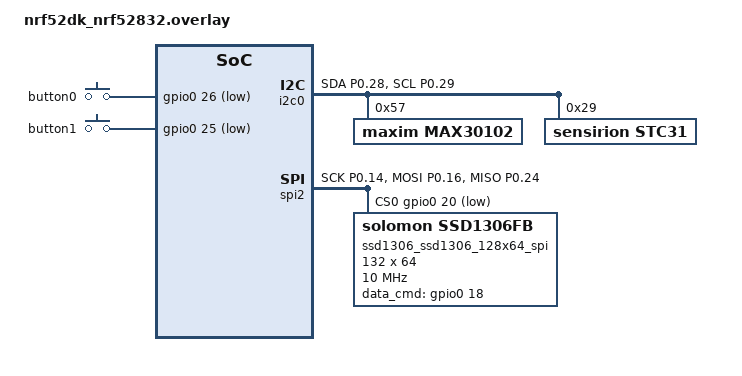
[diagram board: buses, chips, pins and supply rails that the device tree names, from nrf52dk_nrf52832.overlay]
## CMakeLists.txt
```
# SPDX-License-Identifier: Apache-2.0

list(APPEND ZEPHYR_EXTRA_MODULES
  ${CMAKE_CURRENT_SOURCE_DIR}/max30102
  ${CMAKE_CURRENT_SOURCE_DIR}/stc31
  )

set(EXTRA_MODULES_PATHS ${ZEPHYR_EXTRA_MODULES})
list(TRANSFORM EXTRA_MODULES_PATHS APPEND "/zephyr")
list(APPEND DTS_ROOT ${EXTRA_MODULES_PATHS})

cmake_minimum_required(VERSION 3.20.0)

find_package(Zephyr REQUIRED HINTS $ENV{ZEPHYR_BASE})
project(spo2_co2_fw)

target_sources(app PRIVATE
               src/main.c
               src/display.c
               src/button.c
               src/spo2.c
               src/co2.c)
```

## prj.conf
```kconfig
CONFIG_I2C=y
CONFIG_SENSOR=y

CONFIG_MAX30102=y
CONFIG_MAX30102_SPO2_MODE=y
CONFIG_MAX30102_LED1_PA=0x7F
CONFIG_MAX30102_LED2_PA=0x7F
CONFIG_MAX30102_SR=1

CONFIG_STC31=y

CONFIG_SPI=y
CONFIG_DISPLAY=y
CONFIG_LVGL=y
CONFIG_LV_Z_MEM_POOL_NUMBER_BLOCKS=8
CONFIG_MAIN_STACK_SIZE=2048
CONFIG_LV_MEM_CUSTOM=y
CONFIG_LV_USE_LOG=y
CONFIG_LV_USE_LABEL=y
CONFIG_LV_USE_BTN=y
CONFIG_LV_USE_IMG=y
CONFIG_LV_FONT_MONTSERRAT_14=y
CONFIG_SSD1306_SH1106_COMPATIBLE=y
CONFIG_SYSTEM_WORKQUEUE_STACK_SIZE=2048

CONFIG_CBPRINTF_FP_SUPPORT=y
CONFIG_LOG=y
CONFIG_LOG_DEFAULT_LEVEL=4
CONFIG_LOG_BUFFER_SIZE=4096
CONFIG_LOG_BACKEND_SHOW_COLOR=n
CONFIG_SENSOR_LOG_LEVEL_DBG=y
CONFIG_I2C_LOG_LEVEL_DBG=y
CONFIG_LOG_MAX_LEVEL=4
CONFIG_DEBUG=y
CONFIG_DISPLAY_LOG_LEVEL_ERR=y
CONFIG_RTT_CONSOLE=y
CONFIG_USE_SEGGER_RTT=y
CONFIG_LOG_BACKEND_RTT=y

CONFIG_SSD1306_REVERSE_MODE=y

CONFIG_GPIO=y

CONFIG_CLOCK_CONTROL_NRF_K32SRC_RC=y
CONFIG_CLOCK_CONTROL_NRF_K32SRC_XTAL=n

CONFIG_BOARD_ENABLE_DCDC=n
```

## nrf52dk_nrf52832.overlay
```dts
/* SPDX-License-Identifier: Apache-2.0 */

/ {
    chosen {
        zephyr,display = &ssd1306_ssd1306_128x64_spi;
    };
};

/ {
     aliases {
        spo2button = &button0;
        co2button = &button1;
     };

     buttons {
        compatible = "gpio-keys";
        button0: button_0 {
            gpios = < &gpio0 26 (GPIO_PULL_UP | GPIO_ACTIVE_LOW)>;
        };
        button1: button_1 {
            gpios = < &gpio0 25 (GPIO_PULL_UP | GPIO_ACTIVE_LOW)>;
        };
     };
};

&pinctrl {
    i2c0_pins: i2c0_pins {
        group1 {
            psels = <NRF_PSEL(TWIM_SDA, 0, 28)>,
                    <NRF_PSEL(TWIM_SCL, 0, 29)>;
        };
    };
    spi2_default_alt: spi2_default_alt {
        group1 {
            psels = <NRF_PSEL(SPIM_SCK, 0, 14)>,
            <NRF_PSEL(SPIM_MOSI, 0, 16)>,
            <NRF_PSEL(SPIM_MISO, 0, 24)>;
        };
    };
    spi2_sleep_alt: spi2_sleep_alt {
        group1 {
            psels = <NRF_PSEL(SPIM_SCK, 0, 14)>,
                <NRF_PSEL(SPIM_MOSI, 0, 16)>,
                <NRF_PSEL(SPIM_MISO, 0, 24)>;
            low-power-enable;
        };
    };
};

&i2c0 {
    max30102@57 {
        compatible = "maxim,max30102";
        reg = <0x57>;
    };
    stc31@29 {
        compatible = "sensirion,stc31";
        reg = <0x29>;
    };
    pinctrl-0 = <&i2c0_pins>;
};

&spi2 {
    compatible = "nordic,nrf-spi";
    status = "okay";
    pinctrl-0 = <&spi2_default_alt>;
    pinctrl-1 = <&spi2_sleep_alt>;
    pinctrl-names = "default", "sleep";
    cs-gpios = <&gpio0 20 GPIO_ACTIVE_LOW>;
    ssd1306_ssd1306_128x64_spi: ssd1306@0 {
        compatible = "solomon,ssd1306fb";
        reg = <0x0>;
        spi-max-frequency = <10000000>;
        data_cmd-gpios = <&gpio0 18 GPIO_ACTIVE_HIGH>;
        segment-offset = <0>;
        page-offset = <0>;
        display-offset = <2>;
        multiplex-ratio = <63>;
        prechargep = <0x22>;
        height = <64>;
        width = <132>;
        /delete-property/ segment-remap;
        /delete-property/ com-invdir;
    };
};
```

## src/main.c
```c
#include <zephyr/kernel.h>

#include <zephyr/logging/log.h>
LOG_MODULE_REGISTER(main, CONFIG_LOG_DEFAULT_LEVEL);

#include "display.h"
#include "button.h"
#include "spo2.h"
#include "co2.h"

void main(void)
{
    LOG_INF("App start");

    button_cb_t buttons_cb[BUTTON_TOP] = {spo2_button_pressed, co2_button_pressed};
    display_init();
    button_init(buttons_cb);
    spo2_init();
    co2_init();

    while(1)
    {
        k_sleep(K_SECONDS(1));
    }
}
```

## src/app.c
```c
#include <zephyr/kernel.h>
#include <zephyr/device.h>
#include <zephyr/devicetree.h>
#include <zephyr/drivers/sensor.h>

#include <zephyr/logging/log.h>
LOG_MODULE_REGISTER(app, CONFIG_LOG_DEFAULT_LEVEL);

#include "math.h"
#include "display.h"
#include "button.h"

#define SPO2_MEASUREMENT_PERIOD_S    5
#define SPO2_MEASUREMENT_TIME_S      (SPO2_MEASUREMENT_PERIOD_S + 1)
#define SPO2_SAMPLING_TIME_MS        10
#define SPO2_BUFFER_SIZE             (SPO2_MEASUREMENT_PERIOD_S * 1000) / SPO2_SAMPLING_TIME_MS
#define SPO2_SAMPLES_TO_IGNORE       100
#define CO2_MEASUREMENT_PERIOD_S     1

struct spo2_ctx
{
    uint16_t index;
    uint16_t samples_to_ignore_cnt;
    uint32_t red_buf[SPO2_BUFFER_SIZE];
    uint32_t ir_buf[SPO2_BUFFER_SIZE];
    uint8_t current_val;
    bool measurement_in_progress;
    struct k_timer measurement_timer;
    struct k_timer sampling_timer;
    struct k_work button_pressed;
    struct k_work sampling_work;
};

static struct spo2_ctx spo2;

enum co2_measurement_state
{
    CO2_MEAS_NONE,
    CO2_MEAS_REQUESTED,
    CO2_MEAS_STARTED,

    CO2_MEAS_TOP,
};

struct co2_ctx
{
    enum co2_measurement_state state;
    struct k_timer measurement_timer;
    struct k_work measurement_work;
    struct k_work button_pressed;
};

static struct co2_ctx co2;

/*
 * Get a device structure from a devicetree node with compatible "maxim,max30102".
 */
static const struct device *get_max30102_device(void)
{
    const struct device *dev = DEVICE_DT_GET_ANY(maxim_max30102);

    if (dev == NULL)
    {
        /* No such node, or the node does not have status "okay". */
        LOG_ERR("\nError: no device found.\n");
        return NULL;
    }

    if (!device_is_ready(dev))
    {
        LOG_ERR("\nError: Device \"%s\" is not ready; "
               "check the driver initialization logs for errors.\n",
               dev->name);
        return NULL;
    }

    return dev;
}

static uint8_t spo2_calculate(void)
{
    uint64_t red_sum = 0;
    uint64_t ir_sum = 0;
    uint64_t red_squared_sum = 0;
    uint64_t ir_squared_sum = 0;
    uint32_t red_mean = 0;
    uint32_t ir_mean = 0;

    for (uint16_t i = 0; i < SPO2_BUFFER_SIZE; i++)
    {
        red_sum += spo2.red_buf[i];
        ir_sum += spo2.ir_buf[i];
    }

    red_mean = red_sum / SPO2_BUFFER_SIZE;
    ir_mean = ir_sum / SPO2_BUFFER_SIZE;

    for (uint16_t i = 0; i < SPO2_BUFFER_SIZE; i++)
    {
        red_squared_sum += (spo2.red_buf[i] - red_mean) * (spo2.red_buf[i] - red_mean);
        ir_squared_sum += (spo2.ir_buf[i] - ir_mean) * (spo2.ir_buf[i] - ir_mean);
    }

    double AC_red = sqrt((double)red_squared_sum / (double)SPO2_MEASUREMENT_PERIOD_S);
    double DC_red = (double)red_mean;
    double AC_ir = sqrt((double)ir_squared_sum / (double)SPO2_MEASUREMENT_PERIOD_S);
    double DC_ir = (double)ir_mean;

    return 101.72 - 6.4619 * ((AC_red / DC_red) / (AC_ir / DC_ir));
}

static void spo2_sample_add_workqueue(struct k_work *item)
{
    const struct device *dev = get_max30102_device();

    if (dev == NULL)
    {
        return;
    }

    struct sensor_value data[2];

    if (sensor_sample_fetch(dev) < 0)
    {
        LOG_ERR("Error when fetching the data\n");
    }

    if (sensor_channel_get(dev, SENSOR_CHAN_RED, &data[0]) < 0)
    {
        LOG_ERR("Channel RED get error\n");
        return;
    }

    if (sensor_channel_get(dev, SENSOR_CHAN_IR, &data[1]) < 0)
    {
        LOG_ERR("Channel IR get error\n");
        return;
    }

    if (spo2.samples_to_ignore_cnt < SPO2_SAMPLES_TO_IGNORE)
    {
        spo2.samples_to_ignore_cnt++;
        return;
    }

    spo2.red_buf[spo2.index] = data[0].val1;
    spo2.ir_buf[spo2.index] = data[1].val1;
    spo2.index++;
}

static void spo2_val_init(void)
{
    memset(spo2.red_buf, 0, SPO2_BUFFER_SIZE);
    memset(spo2.ir_buf, 0, SPO2_BUFFER_SIZE);
    spo2.index = 0;
    spo2.measurement_in_progress = false;
    spo2.samples_to_ignore_cnt = 0;
}

static void spo2_button_pressed_workqueue(struct k_work *item)
{
    k_timer_stop(&spo2.sampling_timer);
    spo2.current_val = spo2_calculate();
    spo2_val_init();
    display_print(SENSOR_SPO2, spo2.current_val);
}

static void spo2_sampling_timer_expiry(struct k_timer *timer_id)
{
    k_work_submit(&spo2.sampling_work);
}

static void spo2_measurement_timer_expiry(struct k_timer *timer_id)
{
    k_work_submit(&spo2.button_pressed);
}

static void spo2_button_pressed(void)
{
    if (spo2.measurement_in_progress)
    {
        return;
    }

    spo2.measurement_in_progress = true;
    k_timer_start(&spo2.sampling_timer, K_NO_WAIT, K_MSEC(SPO2_SAMPLING_TIME_MS));
    k_timer_start(&spo2.measurement_timer, K_SECONDS(SPO2_MEASUREMENT_TIME_S), K_FOREVER);
}

/*
 * Get a device structure from a devicetree node with compatible "sensirion,stc31".
 */
static const struct device *get_stc31_device(void)
{
    const struct device *dev = DEVICE_DT_GET_ANY(sensirion_stc31);

    if (dev == NULL)
    {
        /* No such node, or the node does not have status "okay". */
        LOG_ERR("\nError: no device found.\n");
        return NULL;
    }

    if (!device_is_ready(dev))
    {
        LOG_ERR("\nError: Device \"%s\" is not ready; "
                "check the driver initialization logs for errors.\n",
               dev->name);
        return NULL;
    }

    return dev;
}

static float co2_calculate(uint16_t raw_val)
{
    float co2 = (((float)raw_val - 16384.0) * 100) / 32768.0;
    return (co2 > 0.0) ? co2 : 0.0;
}

static void co2_measurement_timer_expiry(struct k_timer *timer_id)
{
    k_work_submit(&co2.measurement_work);
}

static void co2_measurement_complete_workqueue(struct k_work *item)
{
    const struct device *dev = get_stc31_device();

    if (dev == NULL)
    {
        return;
    }

    struct sensor_value data;

    if (sensor_sample_fetch(dev) < 0)
    {
        LOG_ERR("Error when fetching the data\n");
    }

    if (sensor_channel_get(dev, SENSOR_CHAN_CO2, &data) < 0)
    {
        LOG_ERR("Channel get error\n");
        return;
    }

    switch (co2.state)
    {
        case CO2_MEAS_REQUESTED:
            co2.state = CO2_MEAS_STARTED;
            break;
        case CO2_MEAS_STARTED:
            display_print(SENSOR_CO2, co2_calculate(data.val1));
            co2.state = CO2_MEAS_NONE;
            break;
        case CO2_MEAS_NONE:
        default:
            break;
    }
}

static void co2_button_pressed(void)
{
    if (co2.state != CO2_MEAS_NONE)
    {
        return;
    }

    co2.state = CO2_MEAS_REQUESTED;
}

void app_init(void)
{
    button_cb_t buttons_cb[BUTTON_TOP] = {spo2_button_pressed, co2_button_pressed};
    display_init();
    button_init(buttons_cb);

    k_timer_init(&spo2.sampling_timer, spo2_sampling_timer_expiry, NULL);
    k_timer_init(&spo2.measurement_timer, spo2_measurement_timer_expiry, NULL);
    k_work_init(&spo2.sampling_work, spo2_sample_add_workqueue);
    k_work_init(&spo2.button_pressed, spo2_button_pressed_workqueue);

    k_timer_init(&co2.measurement_timer, co2_measurement_timer_expiry, NULL);
    k_work_init(&co2.measurement_work, co2_measurement_complete_workqueue);
    k_timer_start(&co2.measurement_timer, K_SECONDS(CO2_MEASUREMENT_PERIOD_S), K_SECONDS(CO2_MEASUREMENT_PERIOD_S));
}
```

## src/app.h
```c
#ifndef APP_H
#define APP_H

void app_init(void);

#endif /* APP_H */
```

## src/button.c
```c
#include <zephyr/kernel.h>
#include <zephyr/device.h>
#include <zephyr/sys/util.h>
#include <inttypes.h>

#include <zephyr/logging/log.h>
LOG_MODULE_REGISTER(button, CONFIG_LOG_DEFAULT_LEVEL);

#include "button.h"

/* Get buttons configuration from the devicetree aliases. */

#define SPO2_BUTTON_NODE    DT_ALIAS(spo2button)
#if !DT_NODE_HAS_STATUS(SPO2_BUTTON_NODE, okay)
#error "Unsupported board: spo2button devicetree alias is not defined"
#endif

#define CO2_BUTTON_NODE    DT_ALIAS(co2button)
#if !DT_NODE_HAS_STATUS(CO2_BUTTON_NODE, okay)
#error "Unsupported board: co2button devicetree alias is not defined"
#endif

#define DEBOUNCE_TIME_MS    100

const struct gpio_dt_spec buttons[BUTTON_TOP] = {GPIO_DT_SPEC_GET_OR(SPO2_BUTTON_NODE, gpios, {0}),
                                                 GPIO_DT_SPEC_GET_OR(CO2_BUTTON_NODE, gpios, {0})};

static struct gpio_callback callbacks[BUTTON_TOP];
static button_cb_t user_callbacks[BUTTON_TOP];
struct k_timer debouncing_timer[BUTTON_TOP];

static void button_timer_expiry(struct k_timer *timer_id)
{
    enum button_type type = BUTTON_TOP;

    if (&debouncing_timer[BUTTON_SPO2] == timer_id)
    {
        type = BUTTON_SPO2;
    }
    else if (&debouncing_timer[BUTTON_CO2] == timer_id)
    {
        type = BUTTON_CO2;
    }
    else
    {
        return;
    }

    int ret = gpio_pin_interrupt_configure_dt(&buttons[type], GPIO_INT_EDGE_TO_ACTIVE);
    if (ret != 0)
    {
        LOG_ERR("%d: failed to configure interrupt on %s pin %d\n", ret,
            buttons[type].port->name, buttons[type].pin);
        return;
    }
}

static void button_pressed(const struct device *dev, struct gpio_callback *cb, uint32_t pins)
{
    enum button_type type = BUTTON_TOP;

    if ((1 << buttons[BUTTON_SPO2].pin) & pins)
    {
        type = BUTTON_SPO2;
    }
    else if ((1 << buttons[BUTTON_CO2].pin) & pins)
    {
        type = BUTTON_CO2;
    }
    else
    {
        return;
    }

    int ret = gpio_pin_interrupt_configure_dt(&buttons[type], GPIO_INT_DISABLE);
    if (ret != 0)
    {
        LOG_ERR("%d: failed to disable interrupt on %s pin %d\n", ret,
            buttons[type].port->name, buttons[type].pin);
        return;
    }
    k_timer_start(&debouncing_timer[type], K_MSEC(DEBOUNCE_TIME_MS), K_FOREVER);
    user_callbacks[type]();
}

void button_init(button_cb_t *user_button_cb)
{
    int ret;

    for (uint8_t i = 0; i < BUTTON_TOP; i++)
    {
        if (!device_is_ready(buttons[i].port))
        {
            LOG_ERR("Button device %s is not ready\n", buttons[i].port->name);
            return;
        }

        ret = gpio_pin_configure_dt(&buttons[i], GPIO_INPUT);
        if (ret != 0)
        {
            LOG_ERR("%d: failed to configure %s pin %d\n", ret, buttons[i].port->name, buttons[i].pin);
            return;
        }

        ret = gpio_pin_interrupt_configure_dt(&buttons[i], GPIO_INT_EDGE_TO_ACTIVE);
        if (ret != 0)
        {
            LOG_ERR("%d: failed to configure interrupt on %s pin %d\n", ret, buttons[i].port->name, buttons[i].pin);
            return;
        }

        gpio_init_callback(&callbacks[i], button_pressed, BIT(buttons[i].pin));

        gpio_add_callback(buttons[i].port, &callbacks[i]);
        LOG_INF("Set up button at %s pin %d\n", buttons[i].port->name, buttons[i].pin);

        user_callbacks[i] = user_button_cb[i];

        k_timer_init(&debouncing_timer[i], button_timer_expiry, NULL);
    }
}
```

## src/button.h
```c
#ifndef BUTTON_H
#define BUTTON_H

#include <zephyr/drivers/gpio.h>

typedef void (*button_cb_t) (void);

enum button_type
{
    BUTTON_SPO2,
    BUTTON_CO2,

    BUTTON_TOP,
};

void button_init(button_cb_t *user_button_cb);

#endif /* BUTTON_H */
```

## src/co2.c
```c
#include <zephyr/kernel.h>
#include <zephyr/device.h>
#include <zephyr/devicetree.h>
#include <zephyr/drivers/sensor.h>

#include <zephyr/logging/log.h>
LOG_MODULE_REGISTER(co2, CONFIG_LOG_DEFAULT_LEVEL);

#include "display.h"
#include "co2.h"

#define CO2_MEASUREMENT_PERIOD_S     1

enum co2_measurement_state
{
    CO2_MEAS_NONE,
    CO2_MEAS_REQUESTED,
    CO2_MEAS_STARTED,

    CO2_MEAS_TOP,
};

struct co2_ctx
{
    enum co2_measurement_state state;
    struct k_timer measurement_timer;
    struct k_work measurement_work;
    struct k_work button_pressed;
};

static struct co2_ctx co2;

/*
 * Get a device structure from a devicetree node with compatible "sensirion,stc31".
 */
static const struct device *get_stc31_device(void)
{
    const struct device *dev = DEVICE_DT_GET_ANY(sensirion_stc31);

    if (dev == NULL)
    {
        /* No such node, or the node does not have status "okay". */
        LOG_ERR("\nError: no device found.\n");
        return NULL;
    }

    if (!device_is_ready(dev))
    {
        LOG_ERR("\nError: Device \"%s\" is not ready; "
                "check the driver initialization logs for errors.\n",
               dev->name);
        return NULL;
    }

    return dev;
}

static float co2_calculate(uint16_t raw_val)
{
    float co2 = (((float)raw_val - 16384.0) * 100) / 32768.0;
    LOG_INF("CO2 val: %f", co2);
    return (co2 > 0.0) ? co2 : 0.0;
}

static void co2_measurement_timer_expiry(struct k_timer *timer_id)
{
    k_work_submit(&co2.measurement_work);
}

static void co2_measurement_complete_workqueue(struct k_work *item)
{
    const struct device *dev = get_stc31_device();

    if (dev == NULL)
    {
        return;
    }

    struct sensor_value data;

    if (sensor_sample_fetch(dev) < 0)
    {
        LOG_ERR("Error when fetching the data\n");
    }

    if (sensor_channel_get(dev, SENSOR_CHAN_CO2, &data) < 0)
    {
        LOG_ERR("Channel get error\n");
        return;
    }

    switch (co2.state)
    {
        case CO2_MEAS_REQUESTED:
            co2.state = CO2_MEAS_STARTED;
            break;
        case CO2_MEAS_STARTED:
            display_print(SENSOR_CO2, co2_calculate(data.val1));
            co2.state = CO2_MEAS_NONE;
            break;
        case CO2_MEAS_NONE:
        default:
            break;
    }
}

void co2_button_pressed(void)
{
    if (co2.state != CO2_MEAS_NONE)
    {
        return;
    }

    co2.state = CO2_MEAS_REQUESTED;
}

void co2_init(void)
{
    k_timer_init(&co2.measurement_timer, co2_measurement_timer_expiry, NULL);
    k_work_init(&co2.measurement_work, co2_measurement_complete_workqueue);
    k_timer_start(&co2.measurement_timer, K_SECONDS(CO2_MEASUREMENT_PERIOD_S), K_SECONDS(CO2_MEASUREMENT_PERIOD_S));
}
```

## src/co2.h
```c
#ifndef CO2_H
#define CO2_H

void co2_button_pressed(void);
void co2_init(void);

#endif /* CO2_H */
```

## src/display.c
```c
#include <zephyr/device.h>
#include <zephyr/devicetree.h>
#include <zephyr/drivers/display.h>
#include <zephyr/drivers/gpio.h>
#include <lvgl.h>
#include <stdio.h>
#include <string.h>
#include <zephyr/kernel.h>

#include <zephyr/logging/log.h>
LOG_MODULE_REGISTER(display, CONFIG_LOG_DEFAULT_LEVEL);

#include "display.h"

#define SENSOR_VAL_OFFSET_X    70
#define SPO2_TEXT_OFFSET_X     16
#define CO2_TEXT_OFFSET_X      25
#define SPO2_OFFSET_Y          14
#define CO2_OFFSET_Y           40


struct display_ctx
{
    const struct device *device;
    lv_obj_t *spo2_label;
    lv_obj_t *co2_label;
};

static struct display_ctx display;

void display_init(void)
{
    lv_obj_t *spo2_label;
    lv_obj_t *co2_label;

    display.device = DEVICE_DT_GET(DT_CHOSEN(zephyr_display));
    if (!device_is_ready(display.device))
    {
        LOG_ERR("Device is not ready");
        return;
    }

    lv_obj_clean(lv_scr_act());

    spo2_label = lv_label_create(lv_scr_act());
    co2_label = lv_label_create(lv_scr_act());

    lv_label_set_text(spo2_label, "SpO2 :");
    lv_obj_align(spo2_label, LV_ALIGN_TOP_LEFT, SPO2_TEXT_OFFSET_X, SPO2_OFFSET_Y);

    lv_label_set_text(co2_label, "CO2 :");
    lv_obj_align(co2_label, LV_ALIGN_TOP_LEFT, CO2_TEXT_OFFSET_X, CO2_OFFSET_Y);

    lv_task_handler();
    display_blanking_off(display.device);

    display.spo2_label = lv_label_create(lv_scr_act());
    lv_label_set_text(display.spo2_label, "");
    lv_obj_align(display.spo2_label, LV_ALIGN_TOP_LEFT, SENSOR_VAL_OFFSET_X, SPO2_OFFSET_Y);

    display.co2_label = lv_label_create(lv_scr_act());
    lv_label_set_text(display.co2_label, "");
    lv_obj_align(display.co2_label, LV_ALIGN_TOP_LEFT, SENSOR_VAL_OFFSET_X, CO2_OFFSET_Y);
}

void display_print(enum sensor_type type, float val)
{
    uint16_t integer = (uint16_t)val;
    uint16_t fraction = ((uint16_t)(val * 100.0) % 100);

    switch (type)
    {
        case SENSOR_SPO2:
            lv_label_set_text_fmt(display.spo2_label, "%d %%", (uint16_t)val);
            lv_obj_align(display.spo2_label, LV_ALIGN_TOP_LEFT, SENSOR_VAL_OFFSET_X, SPO2_OFFSET_Y);
            break;
        case SENSOR_CO2:
            lv_label_set_text_fmt(display.co2_label, "%d. %d %%", integer, fraction);
            lv_obj_align(display.co2_label, LV_ALIGN_TOP_LEFT, SENSOR_VAL_OFFSET_X, CO2_OFFSET_Y);
            break;

        default:
            break;
    }

    lv_task_handler();
    display_blanking_off(display.device);
}
```

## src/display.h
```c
#ifndef DISPLAY_H
#define DISPLAY_H

enum sensor_type
{
    SENSOR_NONE,
    SENSOR_SPO2,
    SENSOR_CO2,

    SENSOR_TOP,
};

void display_init(void);

void display_print(enum sensor_type type, float val);

#endif /* DISPLAY_H */
```

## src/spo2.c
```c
#include <zephyr/kernel.h>
#include <zephyr/device.h>
#include <zephyr/devicetree.h>
#include <zephyr/drivers/sensor.h>

#include <zephyr/logging/log.h>
LOG_MODULE_REGISTER(spo2, CONFIG_LOG_DEFAULT_LEVEL);

#include "math.h"

#include "display.h"
#include "spo2.h"

#define SPO2_MEASUREMENT_PERIOD_S    5
#define SPO2_MEASUREMENT_TIME_S      (SPO2_MEASUREMENT_PERIOD_S + 1)
#define SPO2_SAMPLING_TIME_MS        10
#define SPO2_BUFFER_SIZE             (SPO2_MEASUREMENT_PERIOD_S * 1000) / SPO2_SAMPLING_TIME_MS
#define SPO2_SAMPLES_TO_IGNORE       100

struct spo2_ctx
{
    uint16_t index;
    uint16_t samples_to_ignore_cnt;
    uint32_t red_buf[SPO2_BUFFER_SIZE];
    uint32_t ir_buf[SPO2_BUFFER_SIZE];
    uint8_t current_val;
    bool measurement_in_progress;
    struct k_timer measurement_timer;
    struct k_timer sampling_timer;
    struct k_work button_pressed;
    struct k_work measurement_done;
    struct k_work sampling_work;
};

static struct spo2_ctx spo2;

/*
 * Get a device structure from a devicetree node with compatible "maxim,max30102".
 */
static const struct device *get_max30102_device(void)
{
    const struct device *dev = DEVICE_DT_GET_ANY(maxim_max30102);

    if (dev == NULL)
    {
        /* No such node, or the node does not have status "okay". */
        LOG_ERR("\nError: no device found.\n");
        return NULL;
    }

    if (!device_is_ready(dev))
    {
        LOG_ERR("\nError: Device \"%s\" is not ready; "
               "check the driver initialization logs for errors.\n",
               dev->name);
        return NULL;
    }

    return dev;
}

static void spo2_power_mode_set(bool enable)
{
    const struct device *dev = get_max30102_device();
    if (dev == NULL)
    {
        LOG_ERR("\nError: no device found.\n");
        return;
    }

    struct sensor_value val = {enable, 0};
    if (sensor_attr_set(dev, SENSOR_CHAN_RED, SENSOR_ATTR_CONFIGURATION, &val) <0)
    {
        LOG_ERR("\nError: Attributes could not be configured.\n");
        return;
    }
}

static uint8_t spo2_calculate(void)
{
    uint64_t red_sum = 0;
    uint64_t ir_sum = 0;
    uint64_t red_squared_sum = 0;
    uint64_t ir_squared_sum = 0;
    uint32_t red_mean = 0;
    uint32_t ir_mean = 0;

    for (uint16_t i = 0; i < SPO2_BUFFER_SIZE; i++)
    {
        red_sum += spo2.red_buf[i];
        ir_sum += spo2.ir_buf[i];
    }

    red_mean = red_sum / SPO2_BUFFER_SIZE;
    ir_mean = ir_sum / SPO2_BUFFER_SIZE;

    for (uint16_t i = 0; i < SPO2_BUFFER_SIZE; i++)
    {
        red_squared_sum += (spo2.red_buf[i] - red_mean) * (spo2.red_buf[i] - red_mean);
        ir_squared_sum += (spo2.ir_buf[i] - ir_mean) * (spo2.ir_buf[i] - ir_mean);
    }

    double AC_red = sqrt((double)red_squared_sum / (double)SPO2_MEASUREMENT_PERIOD_S);
    double DC_red = (double)red_mean;
    double AC_ir = sqrt((double)ir_squared_sum / (double)SPO2_MEASUREMENT_PERIOD_S);
    double DC_ir = (double)ir_mean;

    return 101.72 - 6.4619 * ((AC_red / DC_red) / (AC_ir / DC_ir));
}

static void spo2_sample_add_workqueue(struct k_work *item)
{
    const struct device *dev = get_max30102_device();

    if (dev == NULL)
    {
        return;
    }

    struct sensor_value data[2];

    if (sensor_sample_fetch(dev) < 0)
    {
        LOG_ERR("Error when fetching the data\n");
    }

    if (sensor_channel_get(dev, SENSOR_CHAN_RED, &data[0]) < 0)
    {
        LOG_ERR("Channel RED get error\n");
        return;
    }

    if (sensor_channel_get(dev, SENSOR_CHAN_IR, &data[1]) < 0)
    {
        LOG_ERR("Channel IR get error\n");
        return;
    }

    if (spo2.samples_to_ignore_cnt < SPO2_SAMPLES_TO_IGNORE)
    {
        spo2.samples_to_ignore_cnt++;
        return;
    }

    spo2.red_buf[spo2.index] = data[0].val1;
    spo2.ir_buf[spo2.index] = data[1].val1;
    LOG_INF("RED=%d, IR=%d", data[0].val1, data[1].val1);
    spo2.index++;
}

static void spo2_val_init(void)
{
    memset(spo2.red_buf, 0, SPO2_BUFFER_SIZE);
    memset(spo2.ir_buf, 0, SPO2_BUFFER_SIZE);
    spo2.index = 0;
    spo2.measurement_in_progress = false;
    spo2.samples_to_ignore_cnt = 0;
}

static void spo2_button_pressed_workqueue(struct k_work *item)
{
    spo2_power_mode_set(true);
    k_timer_start(&spo2.sampling_timer, K_NO_WAIT, K_MSEC(SPO2_SAMPLING_TIME_MS));
    k_timer_start(&spo2.measurement_timer, K_SECONDS(SPO2_MEASUREMENT_TIME_S), K_FOREVER);
}

static void spo2_measurement_done_workqueue(struct k_work *item)
{
    k_timer_stop(&spo2.sampling_timer);
    spo2.current_val = spo2_calculate();
    spo2_val_init();
    display_print(SENSOR_SPO2, spo2.current_val);
    spo2_power_mode_set(false);
}

static void spo2_sampling_timer_expiry(struct k_timer *timer_id)
{
    k_work_submit(&spo2.sampling_work);
}

static void spo2_measurement_timer_expiry(struct k_timer *timer_id)
{
    k_work_submit(&spo2.measurement_done);
}

void spo2_button_pressed(void)
{
    if (spo2.measurement_in_progress)
    {
        return;
    }

    spo2.measurement_in_progress = true;

    k_work_submit(&spo2.button_pressed);
}

void spo2_init(void)
{
    k_timer_init(&spo2.sampling_timer, spo2_sampling_timer_expiry, NULL);
    k_timer_init(&spo2.measurement_timer, spo2_measurement_timer_expiry, NULL);
    k_work_init(&spo2.sampling_work, spo2_sample_add_workqueue);
    k_work_init(&spo2.button_pressed, spo2_button_pressed_workqueue);
    k_work_init(&spo2.measurement_done, spo2_measurement_done_workqueue);

    spo2_power_mode_set(false);
}
```

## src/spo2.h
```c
#ifndef SPO2_H
#define SPO2_H

void spo2_button_pressed(void);
void spo2_init(void);

#endif /* SPO2_H */
```
